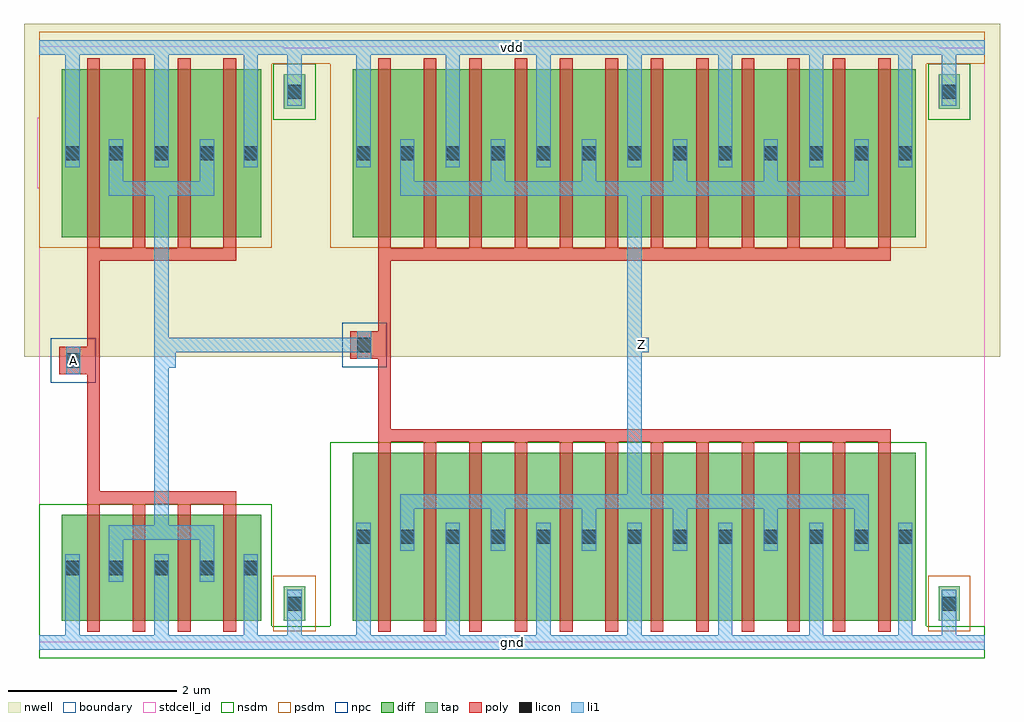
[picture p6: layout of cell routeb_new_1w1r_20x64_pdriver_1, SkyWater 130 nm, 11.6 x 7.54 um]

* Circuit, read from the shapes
.subckt routeb_new_1w1r_20x64_pdriver_1 A Z gnd vdd
XM1 routeb_new_1w1r_20x64_pinv_10_1/A A gnd gnd sky130_fd_pr__nfet_01v8 w=1.26 l=0.15 m=4
XM2 Z routeb_new_1w1r_20x64_pinv_10_1/A gnd gnd sky130_fd_pr__nfet_01v8 w=2 l=0.15 m=12
XM3 routeb_new_1w1r_20x64_pinv_10_1/A A vdd vdd sky130_fd_pr__pfet_01v8 w=2 l=0.15 m=4
XM4 Z routeb_new_1w1r_20x64_pinv_10_1/A vdd vdd sky130_fd_pr__pfet_01v8 w=2 l=0.15 m=12
.ends

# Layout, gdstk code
import gdstk
lib = gdstk.Library(unit=1e-6, precision=1e-09)
def R(c, l, rs):  # rectangles x0, y0, x1, y1
    for r in rs: c.add(gdstk.rectangle(r[:2], r[2:], *l))
def A(c, l, x, y, w, h, nx, ny, dx, dy):  # array of equal rectangles
    R(c, l, [(x+i*dx, y+j*dy, x+i*dx+w, y+j*dy+h) for i in range(nx) for j in range(ny)])
nwell = (64, 20)
diff = (65, 20)
tap = (65, 44)
poly = (66, 20)
licon = (66, 44)
li1 = (67, 20)
stdcell_id = (81, 4)
nsdm = (93, 44)
psdm = (94, 20)
npc = (95, 20)
boundary = (235, 4)

routeb_new_1w1r_20x64_co = lib.new_cell('routeb_new_1w1r_20x64_contact_11')
R(routeb_new_1w1r_20x64_co, nwell, [(-0.295,-0.255,0.545,0.585)])
R(routeb_new_1w1r_20x64_co, diff, [(0,0.02,0.25,0.31)])
R(routeb_new_1w1r_20x64_co, licon, [(0.04,0.08,0.21,0.25)])
R(routeb_new_1w1r_20x64_co, li1, [(0.04,0,0.21,0.33)])
R(routeb_new_1w1r_20x64_co, stdcell_id, [(-0.295,-0.255,0.545,0.585)])
R(routeb_new_1w1r_20x64_co, psdm, [(-0.125,-0.105,0.375,0.435)])
R(routeb_new_1w1r_20x64_co, boundary, [(-0.295,-0.255,0.545,0.585)])

routeb_new_1w1r_20x64_pm = lib.new_cell('routeb_new_1w1r_20x64_pmos_m4_w2_000_sli_dli_da_p')
R(routeb_new_1w1r_20x64_pm, nwell, [(-0.27,-0.27,2.64,2.27)])
R(routeb_new_1w1r_20x64_pm, diff, [(0,0,2.37,2)])
A(routeb_new_1w1r_20x64_pm, poly, 0.3, -0.13, 0.15, 2.26, 4, 1, 0.54, 0)
R(routeb_new_1w1r_20x64_pm, poly, [(0.3,-0.28,2.07,-0.13)])
A(routeb_new_1w1r_20x64_pm, li1, 0.04, 0.835, 0.17, 0.33, 3, 1, 1.06, 0)
R(routeb_new_1w1r_20x64_pm, li1, [(0.56,0.495,1.81,0.665), (0.56,0.58,0.73,1), (1.64,0.58,1.81,1)])
R(routeb_new_1w1r_20x64_pm, stdcell_id, [(-0.27,-0.28,2.64,2.27)])
R(routeb_new_1w1r_20x64_pm, psdm, [(-0.125,-0.125,2.495,2.125)])
R(routeb_new_1w1r_20x64_pm, boundary, [(-0.27,-0.28,2.64,2.27)])
routeb_new_1w1r_20x64_pm.add(gdstk.Reference(routeb_new_1w1r_20x64_co, (0,0.835)))
routeb_new_1w1r_20x64_pm.add(gdstk.Reference(routeb_new_1w1r_20x64_co, (0.52,0.835)))
routeb_new_1w1r_20x64_pm.add(gdstk.Reference(routeb_new_1w1r_20x64_co, (1.06,0.835)))
routeb_new_1w1r_20x64_pm.add(gdstk.Reference(routeb_new_1w1r_20x64_co, (1.6,0.835)))
routeb_new_1w1r_20x64_pm.add(gdstk.Reference(routeb_new_1w1r_20x64_co, (2.12,0.835)))
routeb_new_1w1r_20x64_pm.add(gdstk.Label('G', (1.185,-0.205), layer=66, texttype=5))
routeb_new_1w1r_20x64_pm.add(gdstk.Label('S', (0.125,1), layer=67, texttype=5))
routeb_new_1w1r_20x64_pm.add(gdstk.Label('S', (2.245,1), layer=67, texttype=5))
routeb_new_1w1r_20x64_pm.add(gdstk.Label('S', (1.185,1), layer=67, texttype=5))
routeb_new_1w1r_20x64_pm.add(gdstk.Label('D', (1.185,0.58), layer=67, texttype=5))

c_routeb_new_1w1r_20x64_co = lib.new_cell('routeb_new_1w1r_20x64_contact_10')
R(c_routeb_new_1w1r_20x64_co, diff, [(0,0.02,0.25,0.31)])
R(c_routeb_new_1w1r_20x64_co, licon, [(0.04,0.08,0.21,0.25)])
R(c_routeb_new_1w1r_20x64_co, li1, [(0.04,0,0.21,0.33)])
R(c_routeb_new_1w1r_20x64_co, stdcell_id, [(-0.125,-0.105,0.375,0.435)])
R(c_routeb_new_1w1r_20x64_co, nsdm, [(-0.125,-0.105,0.375,0.435)])
R(c_routeb_new_1w1r_20x64_co, boundary, [(-0.125,-0.105,0.375,0.435)])

routeb_new_1w1r_20x64_nm = lib.new_cell('routeb_new_1w1r_20x64_nmos_m4_w1_260_sli_dli_da_p')
R(routeb_new_1w1r_20x64_nm, diff, [(0,0,2.37,1.26)])
A(routeb_new_1w1r_20x64_nm, poly, 0.3, -0.13, 0.15, 1.52, 4, 1, 0.54, 0)
R(routeb_new_1w1r_20x64_nm, poly, [(0.3,1.39,2.07,1.54)])
A(routeb_new_1w1r_20x64_nm, li1, 0.04, 0.465, 0.17, 0.33, 3, 1, 1.06, 0)
R(routeb_new_1w1r_20x64_nm, li1, [(0.56,0.63,0.73,1.05), (1.64,0.63,1.81,1.05), (0.56,0.965,1.81,1.135)])
R(routeb_new_1w1r_20x64_nm, stdcell_id, [(-0.125,-0.13,2.495,1.54)])
R(routeb_new_1w1r_20x64_nm, nsdm, [(-0.125,-0.125,2.495,1.385)])
R(routeb_new_1w1r_20x64_nm, boundary, [(-0.125,-0.13,2.495,1.54)])
routeb_new_1w1r_20x64_nm.add(gdstk.Reference(c_routeb_new_1w1r_20x64_co, (0,0.465)))
routeb_new_1w1r_20x64_nm.add(gdstk.Reference(c_routeb_new_1w1r_20x64_co, (0.52,0.465)))
routeb_new_1w1r_20x64_nm.add(gdstk.Reference(c_routeb_new_1w1r_20x64_co, (1.06,0.465)))
routeb_new_1w1r_20x64_nm.add(gdstk.Reference(c_routeb_new_1w1r_20x64_co, (1.6,0.465)))
routeb_new_1w1r_20x64_nm.add(gdstk.Reference(c_routeb_new_1w1r_20x64_co, (2.12,0.465)))
routeb_new_1w1r_20x64_nm.add(gdstk.Label('G', (1.185,1.465), layer=66, texttype=5))
routeb_new_1w1r_20x64_nm.add(gdstk.Label('S', (2.245,0.63), layer=67, texttype=5))
routeb_new_1w1r_20x64_nm.add(gdstk.Label('S', (0.125,0.63), layer=67, texttype=5))
routeb_new_1w1r_20x64_nm.add(gdstk.Label('S', (1.185,0.63), layer=67, texttype=5))
routeb_new_1w1r_20x64_nm.add(gdstk.Label('D', (1.185,1.05), layer=67, texttype=5))

c_routeb_new_1w1r_20x64_co_ = lib.new_cell('routeb_new_1w1r_20x64_contact_24')
R(c_routeb_new_1w1r_20x64_co_, nwell, [(-0.295,-0.215,0.545,0.625)])
R(c_routeb_new_1w1r_20x64_co_, tap, [(0,0,0.25,0.41)])
R(c_routeb_new_1w1r_20x64_co_, licon, [(0.04,0.12,0.21,0.29)])
R(c_routeb_new_1w1r_20x64_co_, li1, [(0.04,0.04,0.21,0.37)])
R(c_routeb_new_1w1r_20x64_co_, stdcell_id, [(-0.295,-0.215,0.545,0.625)])
R(c_routeb_new_1w1r_20x64_co_, nsdm, [(-0.125,-0.125,0.375,0.535)])
R(c_routeb_new_1w1r_20x64_co_, boundary, [(-0.295,-0.215,0.545,0.625)])

c_routeb_new_1w1r_20x64_co__ = lib.new_cell('routeb_new_1w1r_20x64_contact_25')
R(c_routeb_new_1w1r_20x64_co__, tap, [(0,0,0.25,0.41)])
R(c_routeb_new_1w1r_20x64_co__, licon, [(0.04,0.12,0.21,0.29)])
R(c_routeb_new_1w1r_20x64_co__, li1, [(0.04,0.04,0.21,0.37)])
R(c_routeb_new_1w1r_20x64_co__, stdcell_id, [(-0.125,-0.125,0.375,0.535)])
R(c_routeb_new_1w1r_20x64_co__, psdm, [(-0.125,-0.125,0.375,0.535)])
R(c_routeb_new_1w1r_20x64_co__, boundary, [(-0.125,-0.125,0.375,0.535)])

c_routeb_new_1w1r_20x64_co___ = lib.new_cell('routeb_new_1w1r_20x64_contact_15')
R(c_routeb_new_1w1r_20x64_co___, poly, [(0,0,0.33,0.33)])
R(c_routeb_new_1w1r_20x64_co___, licon, [(0.08,0.08,0.25,0.25)])
R(c_routeb_new_1w1r_20x64_co___, li1, [(0.08,0,0.25,0.33)])
R(c_routeb_new_1w1r_20x64_co___, stdcell_id, [(-0.1,-0.1,0.43,0.43)])
R(c_routeb_new_1w1r_20x64_co___, npc, [(-0.1,-0.1,0.43,0.43)])
R(c_routeb_new_1w1r_20x64_co___, boundary, [(-0.1,-0.1,0.43,0.43)])

routeb_new_1w1r_20x64_pi = lib.new_cell('routeb_new_1w1r_20x64_pinv_9')
R(routeb_new_1w1r_20x64_pi, nwell, [(-0.18,3.395,3.64,7.355)])
R(routeb_new_1w1r_20x64_pi, poly, [(0.57,1.795,0.72,4.535), (0.405,3.185,0.57,3.515)])
A(routeb_new_1w1r_20x64_pi, li1, 0.31, -0.085, 0.17, 0.805, 3, 1, 1.06, 0)
A(routeb_new_1w1r_20x64_pi, li1, 0.31, 5.65, 0.17, 1.505, 3, 1, 1.06, 0)
R(routeb_new_1w1r_20x64_pi, li1, [(0,-0.085,3.46,0.085), (2.95,0,3.12,0.46), (1.37,1.22,1.54,5.48), (0.32,3.185,0.49,3.515), (1.455,3.265,1.625,3.435), (2.95,6.545,3.12,7.07), (0,6.985,3.46,7.155)])
R(routeb_new_1w1r_20x64_pi, stdcell_id, [(0,0,3.46,7.07), (0,0,3.46,7.07)])
R(routeb_new_1w1r_20x64_pi, nsdm, [(0,-0.19,3.46,0.19), (0,0,2.765,1.64)])
R(routeb_new_1w1r_20x64_pi, psdm, [(0,4.69,2.765,7.07), (0,6.88,3.46,7.26)])
R(routeb_new_1w1r_20x64_pi, boundary, [(0,0,3.46,7.07), (0,0,3.46,7.07)])
routeb_new_1w1r_20x64_pi.add(gdstk.Reference(routeb_new_1w1r_20x64_pm, (0.27,4.815)))
routeb_new_1w1r_20x64_pi.add(gdstk.Reference(routeb_new_1w1r_20x64_nm, (0.27,0.255)))
routeb_new_1w1r_20x64_pi.add(gdstk.Reference(c_routeb_new_1w1r_20x64_co_, (2.91,6.34)))
routeb_new_1w1r_20x64_pi.add(gdstk.Reference(c_routeb_new_1w1r_20x64_co__, (2.91,0.255)))
routeb_new_1w1r_20x64_pi.add(gdstk.Reference(c_routeb_new_1w1r_20x64_co___, (0.24,3.185)))
routeb_new_1w1r_20x64_pi.add(gdstk.Label('A', (0.405,3.35), layer=67, texttype=5))
routeb_new_1w1r_20x64_pi.add(gdstk.Label('Z', (1.54,3.35), layer=67, texttype=5))
routeb_new_1w1r_20x64_pi.add(gdstk.Label('gnd', (1.73,0), layer=67, texttype=5))
routeb_new_1w1r_20x64_pi.add(gdstk.Label('vdd', (1.73,7.07), layer=67, texttype=5))

c_routeb_new_1w1r_20x64_pm = lib.new_cell('routeb_new_1w1r_20x64_pmos_m12_w2_000_sli_dli_da_p')
R(c_routeb_new_1w1r_20x64_pm, nwell, [(-0.27,-0.27,6.96,2.27)])
R(c_routeb_new_1w1r_20x64_pm, diff, [(0,0,6.69,2)])
A(c_routeb_new_1w1r_20x64_pm, poly, 0.3, -0.13, 0.15, 2.26, 12, 1, 0.54, 0)
R(c_routeb_new_1w1r_20x64_pm, poly, [(0.3,-0.28,6.39,-0.13)])
A(c_routeb_new_1w1r_20x64_pm, li1, 0.56, 0.58, 0.17, 0.42, 6, 1, 1.08, 0)
A(c_routeb_new_1w1r_20x64_pm, li1, 1.1, 0.835, 0.17, 0.33, 5, 1, 1.08, 0)
R(c_routeb_new_1w1r_20x64_pm, li1, [(0.56,0.495,6.13,0.665), (0.04,0.835,0.21,1.165), (6.48,0.835,6.65,1.165)])
R(c_routeb_new_1w1r_20x64_pm, stdcell_id, [(-0.27,-0.28,6.96,2.27)])
R(c_routeb_new_1w1r_20x64_pm, psdm, [(-0.125,-0.125,6.815,2.125)])
R(c_routeb_new_1w1r_20x64_pm, boundary, [(-0.27,-0.28,6.96,2.27)])
c_routeb_new_1w1r_20x64_pm.add(gdstk.Reference(routeb_new_1w1r_20x64_co, (0,0.835)))
c_routeb_new_1w1r_20x64_pm.add(gdstk.Reference(routeb_new_1w1r_20x64_co, (0.52,0.835)))
c_routeb_new_1w1r_20x64_pm.add(gdstk.Reference(routeb_new_1w1r_20x64_co, (1.06,0.835)))
c_routeb_new_1w1r_20x64_pm.add(gdstk.Reference(routeb_new_1w1r_20x64_co, (1.6,0.835)))
c_routeb_new_1w1r_20x64_pm.add(gdstk.Reference(routeb_new_1w1r_20x64_co, (2.14,0.835)))
c_routeb_new_1w1r_20x64_pm.add(gdstk.Reference(routeb_new_1w1r_20x64_co, (2.68,0.835)))
c_routeb_new_1w1r_20x64_pm.add(gdstk.Reference(routeb_new_1w1r_20x64_co, (3.22,0.835)))
c_routeb_new_1w1r_20x64_pm.add(gdstk.Reference(routeb_new_1w1r_20x64_co, (3.76,0.835)))
c_routeb_new_1w1r_20x64_pm.add(gdstk.Reference(routeb_new_1w1r_20x64_co, (4.3,0.835)))
c_routeb_new_1w1r_20x64_pm.add(gdstk.Reference(routeb_new_1w1r_20x64_co, (4.84,0.835)))
c_routeb_new_1w1r_20x64_pm.add(gdstk.Reference(routeb_new_1w1r_20x64_co, (5.38,0.835)))
c_routeb_new_1w1r_20x64_pm.add(gdstk.Reference(routeb_new_1w1r_20x64_co, (5.92,0.835)))
c_routeb_new_1w1r_20x64_pm.add(gdstk.Reference(routeb_new_1w1r_20x64_co, (6.44,0.835)))
c_routeb_new_1w1r_20x64_pm.add(gdstk.Label('G', (3.345,-0.205), layer=66, texttype=5))
c_routeb_new_1w1r_20x64_pm.add(gdstk.Label('S', (0.125,1), layer=67, texttype=5))
c_routeb_new_1w1r_20x64_pm.add(gdstk.Label('S', (4.425,1), layer=67, texttype=5))
c_routeb_new_1w1r_20x64_pm.add(gdstk.Label('S', (2.265,1), layer=67, texttype=5))
c_routeb_new_1w1r_20x64_pm.add(gdstk.Label('S', (6.565,1), layer=67, texttype=5))
c_routeb_new_1w1r_20x64_pm.add(gdstk.Label('S', (1.185,1), layer=67, texttype=5))
c_routeb_new_1w1r_20x64_pm.add(gdstk.Label('S', (3.345,1), layer=67, texttype=5))
c_routeb_new_1w1r_20x64_pm.add(gdstk.Label('S', (5.505,1), layer=67, texttype=5))
c_routeb_new_1w1r_20x64_pm.add(gdstk.Label('D', (3.345,0.58), layer=67, texttype=5))

c_routeb_new_1w1r_20x64_nm = lib.new_cell('routeb_new_1w1r_20x64_nmos_m12_w2_000_sli_dli_da_p')
R(c_routeb_new_1w1r_20x64_nm, diff, [(0,0,6.69,2)])
A(c_routeb_new_1w1r_20x64_nm, poly, 0.3, -0.13, 0.15, 2.26, 12, 1, 0.54, 0)
R(c_routeb_new_1w1r_20x64_nm, poly, [(0.3,2.13,6.39,2.28)])
A(c_routeb_new_1w1r_20x64_nm, li1, 1.1, 0.835, 0.17, 0.33, 5, 1, 1.08, 0)
A(c_routeb_new_1w1r_20x64_nm, li1, 0.56, 1, 0.17, 0.42, 6, 1, 1.08, 0)
R(c_routeb_new_1w1r_20x64_nm, li1, [(0.04,0.835,0.21,1.165), (6.48,0.835,6.65,1.165), (0.56,1.335,6.13,1.505)])
R(c_routeb_new_1w1r_20x64_nm, stdcell_id, [(-0.125,-0.13,6.815,2.28)])
R(c_routeb_new_1w1r_20x64_nm, nsdm, [(-0.125,-0.125,6.815,2.125)])
R(c_routeb_new_1w1r_20x64_nm, boundary, [(-0.125,-0.13,6.815,2.28)])
c_routeb_new_1w1r_20x64_nm.add(gdstk.Reference(c_routeb_new_1w1r_20x64_co, (0,0.835)))
c_routeb_new_1w1r_20x64_nm.add(gdstk.Reference(c_routeb_new_1w1r_20x64_co, (0.52,0.835)))
c_routeb_new_1w1r_20x64_nm.add(gdstk.Reference(c_routeb_new_1w1r_20x64_co, (1.06,0.835)))
c_routeb_new_1w1r_20x64_nm.add(gdstk.Reference(c_routeb_new_1w1r_20x64_co, (1.6,0.835)))
c_routeb_new_1w1r_20x64_nm.add(gdstk.Reference(c_routeb_new_1w1r_20x64_co, (2.14,0.835)))
c_routeb_new_1w1r_20x64_nm.add(gdstk.Reference(c_routeb_new_1w1r_20x64_co, (2.68,0.835)))
c_routeb_new_1w1r_20x64_nm.add(gdstk.Reference(c_routeb_new_1w1r_20x64_co, (3.22,0.835)))
c_routeb_new_1w1r_20x64_nm.add(gdstk.Reference(c_routeb_new_1w1r_20x64_co, (3.76,0.835)))
c_routeb_new_1w1r_20x64_nm.add(gdstk.Reference(c_routeb_new_1w1r_20x64_co, (4.3,0.835)))
c_routeb_new_1w1r_20x64_nm.add(gdstk.Reference(c_routeb_new_1w1r_20x64_co, (4.84,0.835)))
c_routeb_new_1w1r_20x64_nm.add(gdstk.Reference(c_routeb_new_1w1r_20x64_co, (5.38,0.835)))
c_routeb_new_1w1r_20x64_nm.add(gdstk.Reference(c_routeb_new_1w1r_20x64_co, (5.92,0.835)))
c_routeb_new_1w1r_20x64_nm.add(gdstk.Reference(c_routeb_new_1w1r_20x64_co, (6.44,0.835)))
c_routeb_new_1w1r_20x64_nm.add(gdstk.Label('G', (3.345,2.205), layer=66, texttype=5))
c_routeb_new_1w1r_20x64_nm.add(gdstk.Label('S', (0.125,1), layer=67, texttype=5))
c_routeb_new_1w1r_20x64_nm.add(gdstk.Label('S', (4.425,1), layer=67, texttype=5))
c_routeb_new_1w1r_20x64_nm.add(gdstk.Label('S', (2.265,1), layer=67, texttype=5))
c_routeb_new_1w1r_20x64_nm.add(gdstk.Label('S', (6.565,1), layer=67, texttype=5))
c_routeb_new_1w1r_20x64_nm.add(gdstk.Label('S', (1.185,1), layer=67, texttype=5))
c_routeb_new_1w1r_20x64_nm.add(gdstk.Label('S', (3.345,1), layer=67, texttype=5))
c_routeb_new_1w1r_20x64_nm.add(gdstk.Label('S', (5.505,1), layer=67, texttype=5))
c_routeb_new_1w1r_20x64_nm.add(gdstk.Label('D', (3.345,1.42), layer=67, texttype=5))

c_routeb_new_1w1r_20x64_pi = lib.new_cell('routeb_new_1w1r_20x64_pinv_10')
R(c_routeb_new_1w1r_20x64_pi, nwell, [(-0.18,3.395,7.96,7.355)])
R(c_routeb_new_1w1r_20x64_pi, poly, [(0.57,2.535,0.72,4.535), (0.405,3.37,0.57,3.7)])
A(c_routeb_new_1w1r_20x64_pi, li1, 1.37, -0.085, 0.17, 1.175, 5, 1, 1.08, 0)
A(c_routeb_new_1w1r_20x64_pi, li1, 1.37, 5.65, 0.17, 1.505, 5, 1, 1.08, 0)
R(c_routeb_new_1w1r_20x64_pi, li1, [(0,-0.085,7.78,0.085), (0.31,-0.085,0.48,1.09), (6.75,-0.085,6.92,1.09), (7.27,0,7.44,0.46), (3.53,1.59,3.7,5.48), (0.32,3.37,0.49,3.7), (3.615,3.45,3.785,3.62), (0.31,5.65,0.48,7.155), (6.75,5.65,6.92,7.155), (7.27,6.545,7.44,7.07), (0,6.985,7.78,7.155)])
R(c_routeb_new_1w1r_20x64_pi, stdcell_id, [(0,0,7.78,7.07), (0,0,7.78,7.07)])
R(c_routeb_new_1w1r_20x64_pi, nsdm, [(0,-0.19,7.78,0.19), (0,0,7.085,2.38)])
R(c_routeb_new_1w1r_20x64_pi, psdm, [(0,4.69,7.085,7.07), (0,6.88,7.78,7.26)])
R(c_routeb_new_1w1r_20x64_pi, boundary, [(0,0,7.78,7.07), (0,0,7.78,7.07)])
c_routeb_new_1w1r_20x64_pi.add(gdstk.Reference(c_routeb_new_1w1r_20x64_pm, (0.27,4.815)))
c_routeb_new_1w1r_20x64_pi.add(gdstk.Reference(c_routeb_new_1w1r_20x64_nm, (0.27,0.255)))
c_routeb_new_1w1r_20x64_pi.add(gdstk.Reference(c_routeb_new_1w1r_20x64_co_, (7.23,6.34)))
c_routeb_new_1w1r_20x64_pi.add(gdstk.Reference(c_routeb_new_1w1r_20x64_co__, (7.23,0.255)))
c_routeb_new_1w1r_20x64_pi.add(gdstk.Reference(c_routeb_new_1w1r_20x64_co___, (0.24,3.37)))
c_routeb_new_1w1r_20x64_pi.add(gdstk.Label('A', (0.405,3.535), layer=67, texttype=5))
c_routeb_new_1w1r_20x64_pi.add(gdstk.Label('Z', (3.7,3.535), layer=67, texttype=5))
c_routeb_new_1w1r_20x64_pi.add(gdstk.Label('gnd', (3.89,0), layer=67, texttype=5))
c_routeb_new_1w1r_20x64_pi.add(gdstk.Label('vdd', (3.89,7.07), layer=67, texttype=5))

routeb_new_1w1r_20x64_pd = lib.new_cell('routeb_new_1w1r_20x64_pdriver_1')
R(routeb_new_1w1r_20x64_pd, nwell, [(-0.18,3.395,11.42,7.355)])
R(routeb_new_1w1r_20x64_pd, li1, [(0,-0.085,11.24,0.085), (0.32,3.185,0.49,3.515), (1.455,3.35,1.625,3.535), (1.455,3.45,1.625,3.62), (1.54,3.45,3.865,3.62), (7.075,3.45,7.245,3.62), (0,6.985,11.24,7.155)])
R(routeb_new_1w1r_20x64_pd, stdcell_id, [(0,0,11.24,7.07), (0,0,11.24,7.07)])
R(routeb_new_1w1r_20x64_pd, nsdm, [(0,-0.19,11.24,0.19)])
R(routeb_new_1w1r_20x64_pd, psdm, [(0,6.88,11.24,7.26)])
R(routeb_new_1w1r_20x64_pd, boundary, [(0,0,11.24,7.07), (0,0,11.24,7.07)])
routeb_new_1w1r_20x64_pd.add(gdstk.Reference(routeb_new_1w1r_20x64_pi, (0,0)))
routeb_new_1w1r_20x64_pd.add(gdstk.Reference(c_routeb_new_1w1r_20x64_pi, (3.46,0)))
routeb_new_1w1r_20x64_pd.add(gdstk.Label('Z', (7.16,3.535), layer=67, texttype=5))
routeb_new_1w1r_20x64_pd.add(gdstk.Label('A', (0.405,3.35), layer=67, texttype=5))
routeb_new_1w1r_20x64_pd.add(gdstk.Label('gnd', (5.62,0), layer=67, texttype=5))
routeb_new_1w1r_20x64_pd.add(gdstk.Label('vdd', (5.62,7.07), layer=67, texttype=5))

lib.write_gds('routeb_new_1w1r_20x64_pdriver_1.gds')
